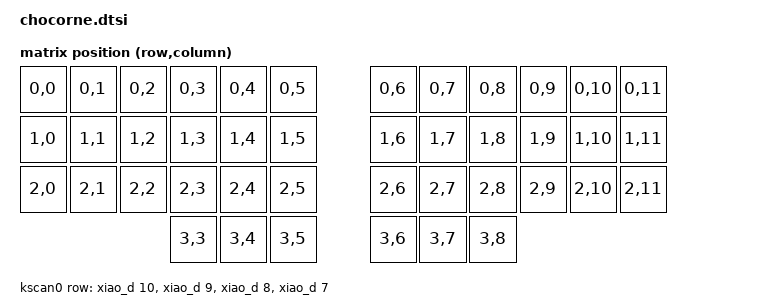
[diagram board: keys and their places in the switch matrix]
/*
 * Copyright (c) 2020 The ZMK Contributors
 *
 * SPDX-License-Identifier: MIT
 */

#include <dt-bindings/zmk/matrix_transform.h>

/ {
    chosen {
        zmk,kscan = &kscan0;
        zmk,matrix_transform = &default_transform;
        /* /delete-property/ zephyr,console; */
        /* /delete-property/ zephyr,shell-uart; */
    };

    default_transform: keymap_transform_0 {
                       compatible = "zmk,matrix-transform";
                       columns = <12>;
                       rows = <4>;
                       map = <
                            RC(0,0) RC(0,1) RC(0,2) RC(0,3) RC(0,4) RC(0,5)  RC(0,6) RC(0,7) RC(0,8) RC(0,9) RC(0,10) RC(0,11)
                            RC(1,0) RC(1,1) RC(1,2) RC(1,3) RC(1,4) RC(1,5)  RC(1,6) RC(1,7) RC(1,8) RC(1,9) RC(1,10) RC(1,11)
                            RC(2,0) RC(2,1) RC(2,2) RC(2,3) RC(2,4) RC(2,5)  RC(2,6) RC(2,7) RC(2,8) RC(2,9) RC(2,10) RC(2,11)
                                                    RC(3,3) RC(3,4) RC(3,5)  RC(3,6) RC(3,7) RC(3,8)
                           >;
                   };

//    col_pins = (board.D0,board.D1,board.D2,board.D3,board.D4,board.D5)
//    row_pins = (board.D10,board.D9,board.D8,board.D7)

    kscan0: kscan_0 {
            compatible = "zmk,kscan-gpio-matrix";
            label = "KSCAN";

            diode-direction = "col2row";
            row-gpios
                = <&xiao_d 10 (GPIO_ACTIVE_HIGH | GPIO_PULL_DOWN)>
                , <&xiao_d  9 (GPIO_ACTIVE_HIGH | GPIO_PULL_DOWN)>
                , <&xiao_d  8 (GPIO_ACTIVE_HIGH | GPIO_PULL_DOWN)>
                , <&xiao_d  7 (GPIO_ACTIVE_HIGH | GPIO_PULL_DOWN)>
                ;
        };
};

&xiao_spi { status = "disabled"; };
&xiao_i2c { status = "disabled"; };
&xiao_serial { status = "disabled"; };
